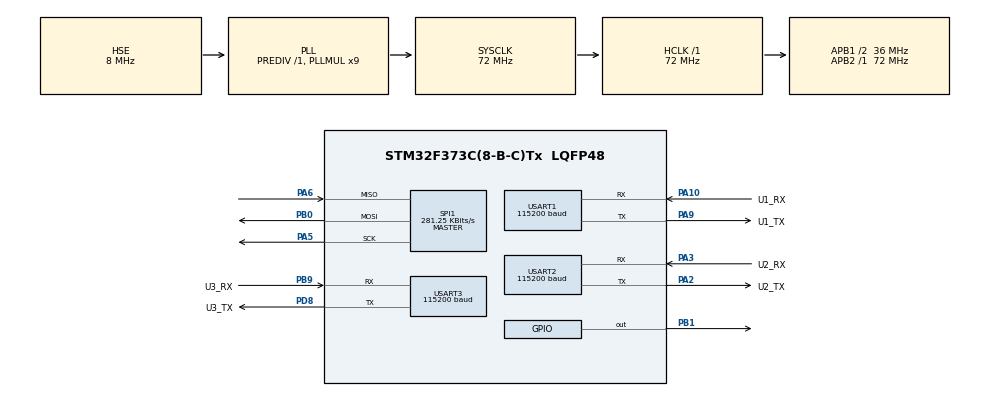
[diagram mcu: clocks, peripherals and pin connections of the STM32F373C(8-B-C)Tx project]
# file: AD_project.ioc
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FREERTOS.Tasks01=taskconfig,0,128,TaskConfig,Default,NULL,Dynamic,NULL,NULL;TaskU2_RV,0,128,u2_rv,Default,NULL,Dynamic,NULL,NULL
Mcu.Family=STM32F3
Mcu.Name=STM32F373C(8-B-C)Tx
Mcu.Package=LQFP48
NVIC.PriorityGroup=NVIC_PRIORITYGROUP_4
NVIC.TIM2_IRQn=true\:0\:0\:false\:false\:true\:false\:false\:true
NVIC.TimeBase=TIM2_IRQn
NVIC.TimeBaseIP=TIM2
NVIC.USART1_IRQn=true\:5\:0\:false\:false\:true\:true\:true\:true
NVIC.USART2_IRQn=true\:5\:0\:false\:false\:true\:true\:true\:true
NVIC.USART3_IRQn=true\:5\:0\:false\:false\:true\:true\:true\:true
PA10.GPIO_Label=U1_RX
PA10.GPIO_PuPd=GPIO_PULLUP
PA10.Mode=Asynchronous
PA10.Signal=USART1_RX
PA13.Mode=Serial_Wire
PA13.Signal=SYS_JTMS-SWDIO
PA14.Mode=Serial_Wire
PA14.Signal=SYS_JTCK-SWCLK
PA2.GPIO_Label=U2_TX
PA2.GPIO_PuPd=GPIO_PULLUP
PA2.Mode=Asynchronous
PA2.Signal=USART2_TX
PA3.GPIO_Label=U2_RX
PA3.GPIO_PuPd=GPIO_PULLUP
PA3.Mode=Asynchronous
PA3.Signal=USART2_RX
PA5.Mode=Full_Duplex_Master
PA5.Signal=SPI1_SCK
PA6.Mode=Full_Duplex_Master
PA6.Signal=SPI1_MISO
PA9.GPIO_Label=U1_TX
PA9.GPIO_PuPd=GPIO_PULLUP
PA9.GPIO_Speed=GPIO_SPEED_FREQ_HIGH
PA9.Mode=Asynchronous
PA9.Signal=USART1_TX
PB0.Mode=Full_Duplex_Master
PB0.Signal=SPI1_MOSI
PB1.GPIO_PuPd=GPIO_PULLUP
PB1.GPIO_Speed=GPIO_SPEED_FREQ_HIGH
PB1.Signal=GPIO_Output
PB9.GPIO_Label=U3_RX
PB9.GPIO_PuPd=GPIO_PULLUP
PB9.Mode=Asynchronous
PB9.Signal=USART3_RX
PD8.GPIO_Label=U3_TX
PD8.GPIO_PuPd=GPIO_PULLUP
PD8.Mode=Asynchronous
PD8.Signal=USART3_TX
PF0-OSC_IN.Mode=HSE-External-Oscillator
PF0-OSC_IN.Signal=RCC_OSC_IN
PF1-OSC_OUT.Mode=HSE-External-Oscillator
PF1-OSC_OUT.Signal=RCC_OSC_OUT
ProjectManager.HeapSize=0x200
ProjectManager.StackSize=0x400
ProjectManager.TargetToolchain=MDK-ARM V5
RCC.AHBFreq_Value=72000000
RCC.APB1CLKDivider=RCC_HCLK_DIV2
RCC.APB1Freq_Value=36000000
RCC.APB1TimFreq_Value=72000000
RCC.APB2Freq_Value=72000000
RCC.APB2TimFreq_Value=72000000
RCC.CortexFreq_Value=72000000
RCC.HCLKFreq_Value=72000000
RCC.HSE_VALUE=8000000
RCC.HSI_VALUE=8000000
RCC.LSE_VALUE=32768
RCC.PLLMUL=RCC_PLL_MUL9
RCC.PLLSourceVirtual=RCC_PLLSOURCE_HSE
RCC.SYSCLKFreq_VALUE=72000000
RCC.SYSCLKSource=RCC_SYSCLKSOURCE_PLLCLK
RCC.USBFreq_Value=72000000
RTC.AsynchPrediv=125
RTC.SynchPrediv=320
SPI1.BaudRatePrescaler=SPI_BAUDRATEPRESCALER_256
SPI1.CLKPhase=SPI_PHASE_2EDGE
SPI1.CLKPolarity=SPI_POLARITY_HIGH
SPI1.CalculateBaudRate=281.25 KBits/s
SPI1.DataSize=SPI_DATASIZE_8BIT
SPI1.Direction=SPI_DIRECTION_2LINES
SPI1.Mode=SPI_MODE_MASTER
SPI1.VirtualType=VM_MASTER
USART1.BaudRate=115200
USART1.VirtualMode-Asynchronous=VM_ASYNC
USART2.BaudRate=115200
USART2.VirtualMode-Asynchronous=VM_ASYNC
USART3.BaudRate=115200
USART3.VirtualMode-Asynchronous=VM_ASYNC
VP_FREERTOS_VS_CMSIS_V1.Mode=CMSIS_V1
VP_RTC_VS_RTC_Activate.Mode=RTC_Enabled
VP_SYS_VS_tim2.Mode=TIM2
board=custom

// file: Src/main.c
/* USER CODE BEGIN Header */
/**
  ******************************************************************************
  * @file           : main.c
  * @brief          : Main program body
  ******************************************************************************
  * @attention
  *
  * <h2><center>&copy; Copyright (c) 2019 STMicroelectronics.
  * All rights reserved.</center></h2>
  *
  * This software component is licensed by ST under BSD 3-Clause license,
  * the "License"; You may not use this file except in compliance with the
  * License. You may obtain a copy of the License at:
  *                        opensource.org/licenses/BSD-3-Clause
  *
  ******************************************************************************
  */
/* USER CODE END Header */

#include "main.h"
#include "cmsis_os.h"
#include "rtc.h"
#include "spi.h"
#include "usart.h"
#include "gpio.h"

/* USER CODE BEGIN Includes */
#include "mmc_sd.h"
#include "ff.h"			/* FatFs configurations and declarations */
#include "diskio.h"		/* Declarations of low level disk I/O functions */
#include "stdlib.h"
/* USER CODE END Includes */

void SystemClock_Config(void);
void MX_FREERTOS_Init(void);

int main(void)
{

  /* MCU Configuration--------------------------------------------------------*/

  /* Reset of all peripherals, Initializes the Flash interface and the Systick. */
  HAL_Init();

  /* Configure the system clock */
  SystemClock_Config();

  /* Initialize all configured peripherals */
  MX_GPIO_Init();
  MX_USART1_UART_Init();
  MX_USART2_UART_Init();
  MX_USART3_UART_Init();
  MX_RTC_Init();
  MX_SPI1_Init();
  /* USER CODE BEGIN 2 */
	printf("/*******************************/\r\n");
	printf("@project  	ad_project\r\n");
	printf("@version  	1.0\r\n");
	printf("@author  	FanXinYu\r\n");
	printf("@time  		2019/8\r\n");
	printf("/*******************************/\r\n");
	HAL_UART_Receive_IT(&huart2, (uint8_t *)aRxBuffer, RXBUFFERSIZE);

//	FATFS fs[2];  		//逻辑磁盘工作区.
//	FIL fnew; //文件对象
//	FRESULT res_sd;//文件操作结果
//	UINT fnum; //文件成功读写数量
//	BYTE ReadBuffer[1024] = {0};
//	BYTE WriteBuffer[] = "成功移植了FatFs文件系统！\r\n"; //写缓存区
//
//	SD_check_init();
//	printf("SD卡初始化成功，即将挂载SD卡。\r\n");
//
//	res_sd = f_mount(0, &fs[0]);
//	if(res_sd == FR_NO_FILESYSTEM)
//	{
//		printf("SD卡没有文件系统，即将进行格式化...\r\n");
//		//格式化
//		res_sd = f_mkfs(0, 0, 0);
//
//		if(res_sd == FR_OK)
//		{
//			printf("SD卡成功格式化！\r\n");
//			//格式化后先取消挂载
//			res_sd = f_mount(0,NULL);
//			//再重新挂载
//			res_sd = f_mount(0,&fs[0]);
//		}
//		else
//		{
//			printf("文件格式化失败！错误代码：%d\r\n",res_sd);
//			while(1);
//		}
//	}
//	else if(res_sd != FR_OK)
//	{
//		printf("挂载文件系统失败！可能是因为文件初始化失败！错误代码：%d\r\n", res_sd);
//	}
//	else
//	{
//		printf("文件系统挂载成功， 可进行读写测试！\r\n");
//	}
//	//***********************写测试****************************
//	//打开文件，如果文件不存在则创建它
//	printf("即将进行文件写入测试....\r\n");
//	//打开文件，若不存在就创建
//	res_sd = f_open(&fnew, "0:2019_08_23_10'01.txt", FA_CREATE_ALWAYS | FA_WRITE);
//	//文件打开成功
//	if(res_sd == FR_OK)
//	{
//		printf("打开文件成功！开始写入数据！\r\n");
//		res_sd= f_write(&fnew, WriteBuffer, sizeof(WriteBuffer), &fnum);
//
//		if(res_sd == FR_OK)
//		{
//			printf("数据写入成功！\r\n");
//			printf("数据：%s。共写入%d个字符\r\n", WriteBuffer, fnum);
//		}
//		else
//		{
//			printf("数据写入失败！\r\n");
//		}
//
//		//关闭文件
//		f_close(&fnew);
//	}
//	else
//		{
//			printf("文件写入失败！错误代码：%d\r\n",res_sd);
//
//		}
//	//***********************读测试****************************
//	//打开文件，如果文件不存在则创建它
//	printf("即将进行文件读取测试....\r\n");
//	//打开文件，若不存在就创建
//	res_sd = f_open(&fnew, "0:2019_08_23_10'01.txt", FA_OPEN_EXISTING | FA_READ);
//	//文件打开成功
//	if(res_sd == FR_OK)
//	{
//		printf("打开文件成功！开始读取数据！\r\n");
//		res_sd= f_read(&fnew, ReadBuffer, sizeof(ReadBuffer), &fnum);
//
//		if(res_sd == FR_OK)
//		{
//			printf("数据读取成功！\r\n");
//			printf("数据：%s\r\n", ReadBuffer);
//		}
//		else
//		{
//			printf("数据读取失败！\r\n");
//		}
//
//		//关闭文件
//		f_close(&fnew);
//	}
//		else
//		{
//			printf("文件写入失败！错误代码：%d\r\n",res_sd);
//
//		}
  /* USER CODE END 2 */

  /* Call init function for freertos objects (in freertos.c) */
  MX_FREERTOS_Init();

  /* Start scheduler */
  osKernelStart();

  /* We should never get here as control is now taken by the scheduler */

  /* Infinite loop */
  while (1)
  {

  }
}

void SystemClock_Config(void)
{
  RCC_OscInitTypeDef RCC_OscInitStruct = {0};
  RCC_ClkInitTypeDef RCC_ClkInitStruct = {0};
  RCC_PeriphCLKInitTypeDef PeriphClkInit = {0};

  /** Initializes the CPU, AHB and APB busses clocks
  */
  RCC_OscInitStruct.OscillatorType = RCC_OSCILLATORTYPE_LSI|RCC_OSCILLATORTYPE_HSE;
  RCC_OscInitStruct.HSEState = RCC_HSE_ON;
  RCC_OscInitStruct.HSEPredivValue = RCC_HSE_PREDIV_DIV1;
  RCC_OscInitStruct.HSIState = RCC_HSI_ON;
  RCC_OscInitStruct.LSIState = RCC_LSI_ON;
  RCC_OscInitStruct.PLL.PLLState = RCC_PLL_ON;
  RCC_OscInitStruct.PLL.PLLSource = RCC_PLLSOURCE_HSE;
  RCC_OscInitStruct.PLL.PLLMUL = RCC_PLL_MUL9;
  if (HAL_RCC_OscConfig(&RCC_OscInitStruct) != HAL_OK)
  {
    Error_Handler();
  }
  /** Initializes the CPU, AHB and APB busses clocks
  */
  RCC_ClkInitStruct.ClockType = RCC_CLOCKTYPE_HCLK|RCC_CLOCKTYPE_SYSCLK
                              |RCC_CLOCKTYPE_PCLK1|RCC_CLOCKTYPE_PCLK2;
  RCC_ClkInitStruct.SYSCLKSource = RCC_SYSCLKSOURCE_PLLCLK;
  RCC_ClkInitStruct.AHBCLKDivider = RCC_SYSCLK_DIV1;
  RCC_ClkInitStruct.APB1CLKDivider = RCC_HCLK_DIV2;
  RCC_ClkInitStruct.APB2CLKDivider = RCC_HCLK_DIV1;

  if (HAL_RCC_ClockConfig(&RCC_ClkInitStruct, FLASH_LATENCY_2) != HAL_OK)
  {
    Error_Handler();
  }
  PeriphClkInit.PeriphClockSelection = RCC_PERIPHCLK_USART1|RCC_PERIPHCLK_USART2
                              |RCC_PERIPHCLK_USART3|RCC_PERIPHCLK_RTC;
  PeriphClkInit.Usart1ClockSelection = RCC_USART1CLKSOURCE_PCLK2;
  PeriphClkInit.Usart2ClockSelection = RCC_USART2CLKSOURCE_PCLK1;
  PeriphClkInit.Usart3ClockSelection = RCC_USART3CLKSOURCE_PCLK1;
  PeriphClkInit.RTCClockSelection = RCC_RTCCLKSOURCE_LSI;
  if (HAL_RCCEx_PeriphCLKConfig(&PeriphClkInit) != HAL_OK)
  {
    Error_Handler();
  }
}

void HAL_TIM_PeriodElapsedCallback(TIM_HandleTypeDef *htim)
{
  if (htim->Instance == TIM2) {
    HAL_IncTick();
  }
}

void Error_Handler(void)
{
}

/************************ (C) COPYRIGHT STMicroelectronics *****END OF FILE****/

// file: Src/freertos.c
/* USER CODE BEGIN Header */
/**
  ******************************************************************************
  * File Name          : freertos.c
  * Description        : Code for freertos applications
  ******************************************************************************
  * @attention
  *
  * <h2><center>&copy; Copyright (c) 2019 STMicroelectronics.
  * All rights reserved.</center></h2>
  *
  * This software component is licensed by ST under Ultimate Liberty license
  * SLA0044, the "License"; You may not use this file except in compliance with
  * the License. You may obtain a copy of the License at:
  *                             www.st.com/SLA0044
  *
  ******************************************************************************
  */
/* USER CODE END Header */

#include "FreeRTOS.h"
#include "task.h"
#include "main.h"
#include "cmsis_os.h"

/* USER CODE BEGIN Includes */
#include "usart.h"
#include "BY_log.h"
#include "application.h"
#include "rtc.h"
/* USER CODE END Includes */

osThreadId taskconfigHandle;
osThreadId TaskU2_RVHandle;

void TaskConfig(void const * argument);
void u2_rv(void const * argument);

void MX_FREERTOS_Init(void); /* (MISRA C 2004 rule 8.1) */

void MX_FREERTOS_Init(void) {

  /* Create the thread(s) */
  /* definition and creation of taskconfig */
  osThreadDef(taskconfig, TaskConfig, osPriorityNormal, 0, 128);
  taskconfigHandle = osThreadCreate(osThread(taskconfig), NULL);

  /* definition and creation of TaskU2_RV */
  osThreadDef(TaskU2_RV, u2_rv, osPriorityNormal, 0, 128);
  TaskU2_RVHandle = osThreadCreate(osThread(TaskU2_RV), NULL);

}

void TaskConfig(void const * argument)
{

  /* USER CODE BEGIN TaskConfig */
	project_init();
	command_buffer_Queue = xQueueCreate(command_buffer_Queue_LEN, sizeof(uint8_t *));
  /* Infinite loop */
  for(;;)
  {
	 Command_msg_handler();
     osDelay(10);
  }
  /* USER CODE END TaskConfig */
}

void u2_rv(void const * argument)
{
  /* USER CODE BEGIN u2_rv */
	uint8_t len;
  /* Infinite loop */
  for(;;)
  {
	  if(USART_RX_STA&0x8000)
	{
		len=USART_RX_STA&0x3fff;
//		HAL_UART_Transmit(&huart2,(uint8_t*)USART_RX_BUF,len,1000);
		while(__HAL_UART_GET_FLAG(&huart2,UART_FLAG_TC)!=SET);
		if(!command_msg_analysis(USART_RX_BUF,len)){
			log_debug("command handle success");

		}else{
			log_debug("command handle failure");

		}
		USART_RX_STA=0;
	}
    osDelay(1);
  }
  /* USER CODE END u2_rv */
}

/************************ (C) COPYRIGHT STMicroelectronics *****END OF FILE****/
